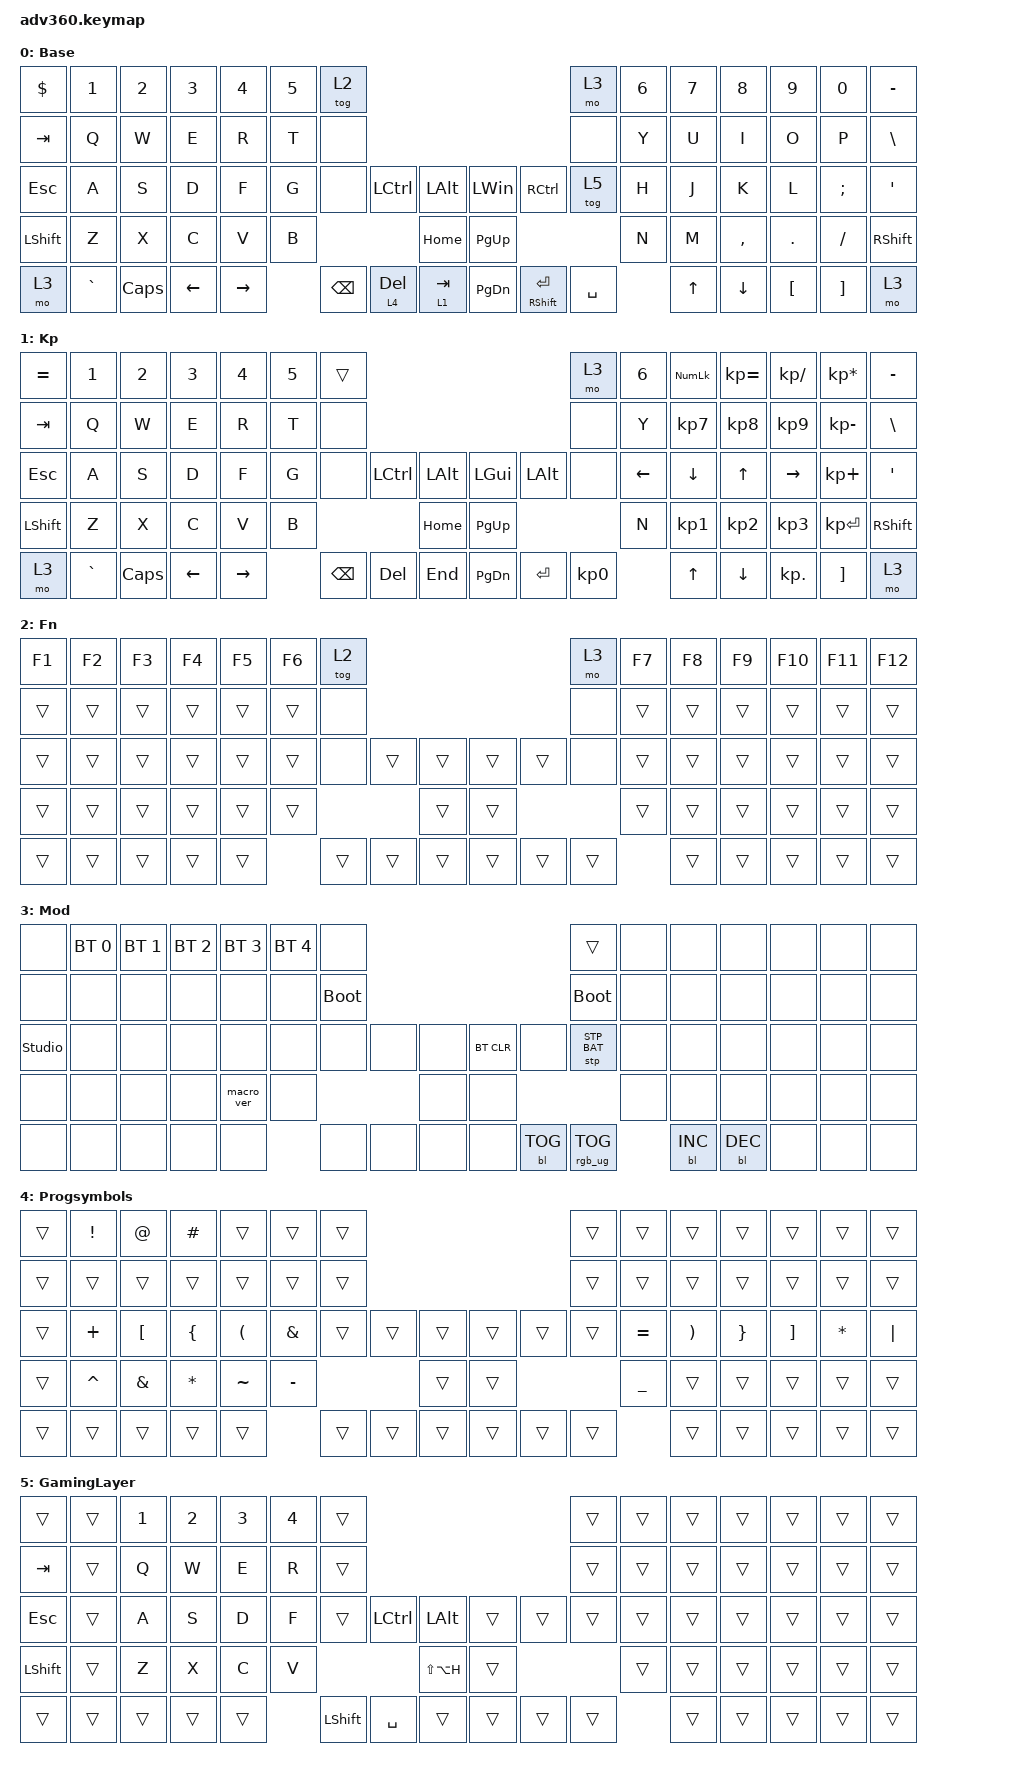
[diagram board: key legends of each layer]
#include <dt-bindings/zmk/stp.h>
#include <behaviors.dtsi>
#include <dt-bindings/zmk/backlight.h>
#include <dt-bindings/zmk/bt.h>
#include <dt-bindings/zmk/keys.h>
#include <dt-bindings/zmk/rgb.h>

/ {
    behaviors {
        #include "macros.dtsi"
      #include "version.dtsi"

        hm: homerow_mods {
            compatible = "zmk,behavior-hold-tap";
            label = "HOMEROW_MODS";
            #binding-cells = <2>;
            tapping-term-ms = <200>;
            quick_tap_ms = <175>;
            flavor = "tap-preferred";
            bindings = <&kp>, <&kp>;
        };
    };

    keymap {
        compatible = "zmk,keymap";

        default_layer {
            display-name = "Base";
            bindings = <
&kp DOLLAR  &kp N1     &kp N2    &kp N3    &kp N4     &kp N5  &tog 2                                                                               &mo 3      &kp N6  &kp N7  &kp N8     &kp N9    &kp N0    &kp MINUS
&kp TAB     &kp Q      &kp W     &kp E     &kp R      &kp T   &none                                                                                &none      &kp Y   &kp U   &kp I      &kp O     &kp P     &kp BSLH
&kp ESC     &kp A      &kp S     &kp D     &kp F      &kp G   &none          &kp LCTRL     &kp LEFT_ALT      &kp LEFT_WIN   &kp RCTRL              &tog 5     &kp H   &kp J   &kp K      &kp L     &kp SEMI  &kp SQT
&kp LSHFT   &kp Z      &kp X     &kp C     &kp V      &kp B                                &kp HOME          &kp PG_UP                                        &kp N   &kp M   &kp COMMA  &kp DOT   &kp FSLH  &kp RSHFT
&mo 3       &kp GRAVE  &kp CAPS  &kp LEFT  &kp RIGHT          &kp BACKSPACE  &lt 4 DELETE  &lt 1 TAB         &kp PAGE_DOWN  &mt RIGHT_SHIFT ENTER  &kp SPACE          &kp UP  &kp DOWN   &kp LBKT  &kp RBKT  &mo 3
            >;
        };

        keypad {
            display-name = "Kp";
            bindings = <
&kp EQUAL  &kp N1     &kp N2    &kp N3    &kp N4     &kp N5  &trans                                                      &mo 3      &kp N6    &kp KP_NUM      &kp KP_EQUAL  &kp KP_DIVIDE  &kp KP_MULTIPLY  &kp MINUS
&kp TAB    &kp Q      &kp W     &kp E     &kp R      &kp T   &none                                                       &none      &kp Y     &kp KP_N7       &kp KP_N8     &kp KP_N9      &kp KP_MINUS     &kp BSLH
&kp ESC    &kp A      &kp S     &kp D     &kp F      &kp G   &none     &kp LCTRL  &kp LALT      &kp LGUI   &kp LEFT_ALT  &none      &kp LEFT  &kp DOWN_ARROW  &kp UP_ARROW  &kp RIGHT      &kp KP_PLUS      &kp SQT
&kp LSHFT  &kp Z      &kp X     &kp C     &kp V      &kp B                        &kp HOME      &kp PG_UP                           &kp N     &kp KP_N1       &kp KP_N2     &kp KP_N3      &kp KP_ENTER     &kp RSHFT
&mo 3      &kp GRAVE  &kp CAPS  &kp LEFT  &kp RIGHT          &kp BSPC  &kp DEL    &kp END       &kp PG_DN  &kp ENTER     &kp KP_N0            &kp UP          &kp DOWN      &kp KP_DOT     &kp RBKT         &mo 3
            >;
        };

        fn {
            display-name = "Fn";
            bindings = <
&kp F1  &kp F2  &kp F3  &kp F4  &kp F5  &kp F6  &tog 2                                      &mo 3   &kp F7  &kp F8  &kp F9  &kp F10  &kp F11  &kp F12
&trans  &trans  &trans  &trans  &trans  &trans  &none                                       &none   &trans  &trans  &trans  &trans   &trans   &trans
&trans  &trans  &trans  &trans  &trans  &trans  &none   &trans  &trans      &trans  &trans  &none   &trans  &trans  &trans  &trans   &trans   &trans
&trans  &trans  &trans  &trans  &trans  &trans                  &trans      &trans                  &trans  &trans  &trans  &trans   &trans   &trans
&trans  &trans  &trans  &trans  &trans          &trans  &trans  &trans      &trans  &trans  &trans          &trans  &trans  &trans   &trans   &trans
            >;
        };

        mod {
            display-name = "Mod";
            bindings = <
&none           &bt BT_SEL 0  &bt BT_SEL 1  &bt BT_SEL 2  &bt BT_SEL 3  &bt BT_SEL 4  &none                                                  &trans           &none  &none       &none       &none  &none  &none
&none           &none         &none         &none         &none         &none         &bootloader                                            &bootloader      &none  &none       &none       &none  &none  &none
&studio_unlock  &none         &none         &none         &none         &none         &none        &none  &none      &bt BT_CLR  &none       &stp STP_BAT     &none  &none       &none       &none  &none  &none
&none           &none         &none         &none         &macro_ver    &none                             &none      &none                                    &none  &none       &none       &none  &none  &none
&none           &none         &none         &none         &none                       &none        &none  &none      &none       &bl BL_TOG  &rgb_ug RGB_TOG         &bl BL_INC  &bl BL_DEC  &none  &none  &none
            >;
        };

        Progsymbols {
            bindings = <
&trans  &kp EXCLAMATION  &kp AT            &kp POUND       &trans                &trans         &trans                                      &trans  &trans     &trans                 &trans           &trans             &trans     &trans
&trans  &trans           &trans            &trans          &trans                &trans         &trans                                      &trans  &trans     &trans                 &trans           &trans             &trans     &trans
&trans  &kp PLUS         &kp LEFT_BRACKET  &kp LEFT_BRACE  &kp LEFT_PARENTHESIS  &kp AMPERSAND  &trans  &trans  &trans      &trans  &trans  &trans  &kp EQUAL  &kp RIGHT_PARENTHESIS  &kp RIGHT_BRACE  &kp RIGHT_BRACKET  &kp ASTRK  &kp PIPE
&trans  &kp CARET        &kp AMPERSAND     &kp STAR        &kp TILDE             &kp MINUS                      &trans      &trans                  &kp UNDER  &trans                 &trans           &trans             &trans     &trans
&trans  &trans           &trans            &trans          &trans                               &trans  &trans  &trans      &trans  &trans  &trans             &trans                 &trans           &trans             &trans     &trans
            >;
        };

        GamingLayer {
            bindings = <
&trans     &trans  &kp N1  &kp N2  &kp N3  &kp N4  &trans                                                   &trans  &trans  &trans  &trans  &trans  &trans  &trans
&kp TAB    &trans  &kp Q   &kp W   &kp E   &kp R   &trans                                                   &trans  &trans  &trans  &trans  &trans  &trans  &trans
&kp ESC    &trans  &kp A   &kp S   &kp D   &kp F   &trans     &kp LCTRL  &kp LALT           &trans  &trans  &trans  &trans  &trans  &trans  &trans  &trans  &trans
&kp LSHFT  &trans  &kp Z   &kp X   &kp C   &kp V                         &kp LS(LA(H))      &trans                  &trans  &trans  &trans  &trans  &trans  &trans
&trans     &trans  &trans  &trans  &trans          &kp LSHFT  &kp SPACE  &trans             &trans  &trans  &trans          &trans  &trans  &trans  &trans  &trans
            >;
        };
    };
};
